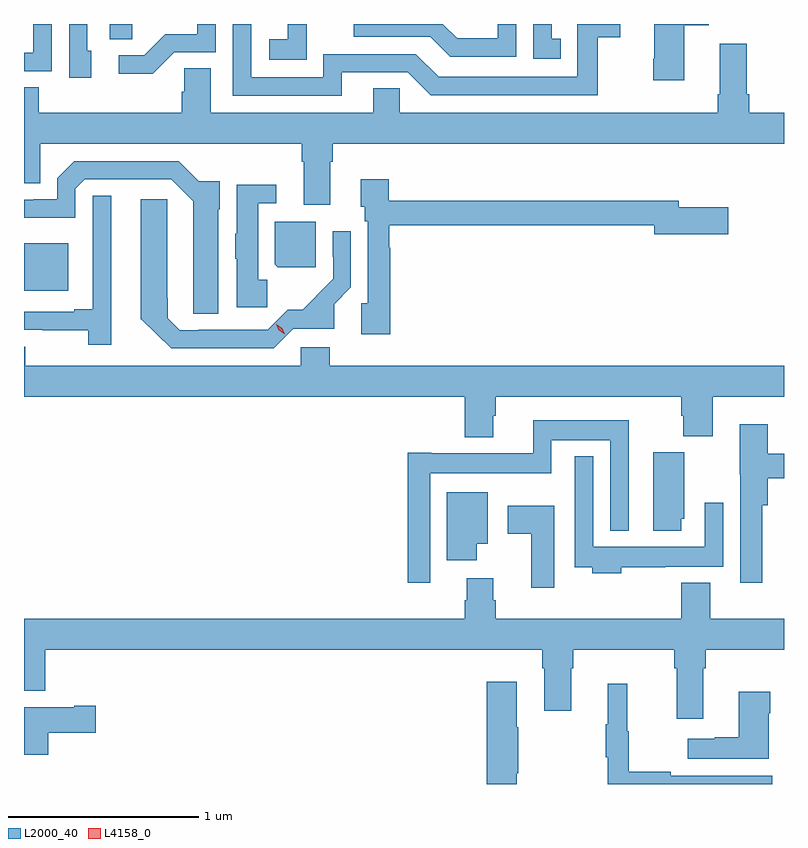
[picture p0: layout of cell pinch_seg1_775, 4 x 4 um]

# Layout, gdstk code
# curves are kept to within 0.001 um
import gdstk
lib = gdstk.Library(unit=1e-6, precision=1e-09)
def R(c, l, rs):  # rectangles x0, y0, x1, y1
    for r in rs: c.add(gdstk.rectangle(r[:2], r[2:], *l))
def P(c, l, *ps):  # polygons
    for p in ps: c.add(gdstk.Polygon(p, *l))
L2000_40 = (2000, 40)
L4158_0 = (4158, 0)

pinch_seg1_775 = lib.new_cell('pinch_seg1_775')
R(pinch_seg1_775, L2000_40, [(537.428,578.93,537.661,579.181), (537.878,580.255,537.999,580.334)])
P(pinch_seg1_775, L2000_40, [(539.101,580.08),(539.448,580.08),(539.568,579.96),(540.448,579.96),(540.448,580.263),(540.566,580.263),(540.566,580.334),(540.339,580.334),(540.339,580.056),(539.61,580.056),(539.49,580.176),(539.004,580.176),(539.004,580.053),(538.623,580.053),(538.623,580.334),(538.527,580.334),(538.527,579.957),(539.101,579.957)],
  [(540.018,580.334),(539.922,580.334),(539.922,580.258),(539.708,580.258),(539.632,580.334),(539.164,580.334),(539.164,580.266),(539.567,580.266),(539.672,580.161),(540.018,580.161)],
  [(538.917,580.334),(538.817,580.334),(538.817,580.255),(538.719,580.255),(538.719,580.145),(538.917,580.145)],
  [(540.254,580.257),(540.205,580.257),(540.205,580.334),(540.108,580.334),(540.108,580.152),(540.254,580.152)],
  [(537.573,580.334),(537.477,580.334),(537.477,580.182),(537.428,580.182),(537.428,580.086),(537.573,580.086)],
  [(540.904,580.327),(541.031,580.327),(541.031,580.334),(540.746,580.334),(540.746,580.15),(540.739,580.15),(540.739,580.038),(540.904,580.038)],
  [(538.218,580.185),(538.437,580.185),(538.437,580.334),(538.341,580.334),(538.341,580.281),(538.172,580.281),(538.061,580.17),(537.927,580.17),(537.927,580.073),(538.105,580.073)],
  [(537.781,580.194),(537.762,580.194),(537.762,580.334),(537.666,580.334),(537.666,580.05),(537.781,580.05)],
  [(539.041,579.608),(539.054,579.608),(539.054,579.704),(541.428,579.704),(541.428,579.868),(541.244,579.868),(541.244,579.964),(541.231,579.964),(541.231,580.231),(541.091,580.231),(541.091,579.964),(541.079,579.964),(541.079,579.868),(539.406,579.868),(539.406,579.995),(539.267,579.995),(539.267,579.868),(538.411,579.868),(538.411,580.1),(538.272,580.1),(538.272,579.977),(538.259,579.977),(538.259,579.868),(537.506,579.868),(537.506,580.001),(537.428,580.001),(537.428,579.496),(537.514,579.496),(537.514,579.704),(538.889,579.704),(538.889,579.608),(538.901,579.608),(538.901,579.384),(539.041,579.384)],
  [(538.45,579.36),(538.459,579.36),(538.459,579.507),(538.348,579.507),(538.243,579.612),(537.693,579.612),(537.603,579.522),(537.603,579.411),(537.478,579.411),(537.478,579.408),(537.428,579.408),(537.428,579.314),(537.699,579.314),(537.699,579.468),(537.747,579.516),(538.203,579.516),(538.319,579.4),(538.319,578.809),(538.45,578.809)],
  [(539.356,579.156),(539.35,579.156),(539.35,579.274),(540.746,579.274),(540.746,579.227),(541.135,579.227),(541.135,579.369),(540.874,579.369),(540.874,579.403),(539.348,579.403),(539.348,579.517),(539.201,579.517),(539.201,579.372),(539.222,579.372),(539.222,579.297),(539.238,579.297),(539.238,578.865),(539.202,578.865),(539.202,578.7),(539.356,578.7)],
  [(538.708,578.988),(538.66,578.988),(538.66,579.39),(538.756,579.39),(538.756,579.488),(538.547,579.488),(538.547,579.231),(538.541,579.231),(538.541,579.099),(538.547,579.099),(538.547,578.843),(538.708,578.843)],
  [(537.886,579.431),(537.789,579.431),(537.789,578.833),(537.692,578.833),(537.692,578.82),(537.428,578.82),(537.428,578.724),(537.523,578.724),(537.523,578.723),(537.766,578.723),(537.766,578.646),(537.886,578.646)],
  [(538.845,578.73),(539.06,578.73),(539.06,578.859),(539.148,578.948),(539.148,579.244),(539.052,579.244),(539.052,579.11),(539.055,579.11),(539.055,578.994),(538.966,578.905),(538.968,578.903),(538.895,578.83),(538.816,578.83),(538.71,578.724),(538.348,578.724),(538.348,578.721),(538.248,578.721),(538.184,578.786),(538.183,579.412),(538.043,579.412),(538.043,578.781),(538.046,578.781),(538.123,578.704),(538.124,578.705),(538.202,578.628),(538.743,578.628)],
  [(538.963,579.292),(538.748,579.292),(538.748,579.069),(538.764,579.053),(538.963,579.053)],
  [(539.899,578.271),(539.912,578.271),(539.912,578.372),(540.887,578.372),(540.887,578.273),(540.899,578.273),(540.899,578.164),(541.052,578.164),(541.052,578.372),(541.428,578.372),(541.428,578.536),(539.036,578.536),(539.036,578.634),(538.884,578.634),(538.884,578.536),(537.435,578.536),(537.435,578.635),(537.428,578.635),(537.428,578.372),(539.747,578.372),(539.747,578.159),(539.899,578.159)],
  [(539.565,577.97),(540.204,577.97),(540.204,578.144),(540.513,578.144),(540.513,577.667),(540.61,577.667),(540.61,578.248),(540.107,578.248),(540.107,578.074),(539.572,578.074),(539.572,578.077),(539.449,578.077),(539.449,577.392),(539.565,577.392)],
  [(541.313,577.802),(541.343,577.802),(541.343,577.942),(541.428,577.942),(541.428,578.071),(541.343,578.071),(541.343,578.227),(541.196,578.227),(541.196,577.965),(541.197,577.965),(541.197,577.392),(541.313,577.392)],
  [(540.886,577.731),(540.904,577.731),(540.904,578.079),(540.74,578.079),(540.74,577.668),(540.886,577.668)],
  [(540.572,577.476),(540.803,577.476),(540.803,577.478),(541.107,577.478),(541.107,577.813),(541.011,577.813),(541.011,577.582),(540.423,577.582),(540.423,578.059),(540.327,578.059),(540.327,577.476),(540.419,577.476),(540.419,577.442),(540.572,577.442)],
  [(539.812,577.598),(539.869,577.598),(539.869,577.87),(539.654,577.87),(539.654,577.512),(539.812,577.512)],
  [(540.22,577.798),(539.973,577.798),(539.973,577.651),(540.098,577.651),(540.098,577.368),(540.22,577.368)],
  [(541.003,576.944),(541.016,576.944),(541.016,577.04),(541.428,577.04),(541.428,577.204),(541.039,577.204),(541.039,577.393),(540.887,577.393),(540.887,577.204),(539.912,577.204),(539.912,577.302),(539.899,577.302),(539.899,577.417),(539.759,577.417),(539.759,577.302),(539.747,577.302),(539.747,577.204),(537.428,577.204),(537.428,576.824),(537.541,576.824),(537.541,577.04),(540.155,577.04),(540.155,576.944),(540.167,576.944),(540.167,576.72),(540.307,576.72),(540.307,576.944),(540.32,576.944),(540.32,577.04),(540.851,577.04),(540.851,576.944),(540.863,576.944),(540.863,576.678),(541.003,576.678)],
  [(540.022,576.391),(540.03,576.391),(540.03,576.632),(540.022,576.632),(540.022,576.871),(539.864,576.871),(539.864,576.334),(540.022,576.334)],
  [(541.366,576.378),(540.833,576.378),(540.833,576.398),(540.61,576.398),(540.61,576.612),(540.602,576.612),(540.602,576.862),(540.5,576.862),(540.5,576.649),(540.489,576.649),(540.489,576.475),(540.5,576.475),(540.5,576.334),(541.366,576.334)],
  [(541.348,576.707),(541.356,576.707),(541.356,576.82),(541.19,576.82),(541.19,576.581),(541.064,576.581),(541.064,576.571),(540.921,576.571),(540.921,576.467),(541.348,576.467)],
  [(537.556,576.605),(537.805,576.605),(537.805,576.747),(537.692,576.747),(537.692,576.739),(537.428,576.739),(537.428,576.488),(537.556,576.488)])
P(pinch_seg1_775, L4158_0, [(538.8,578.701),(538.77,578.721),(538.756,578.754),(538.756,578.754),(538.756,578.754),(538.786,578.734),(538.8,578.701),(538.8,578.701)])

lib.write_gds('pinch_seg1_775.gds')
